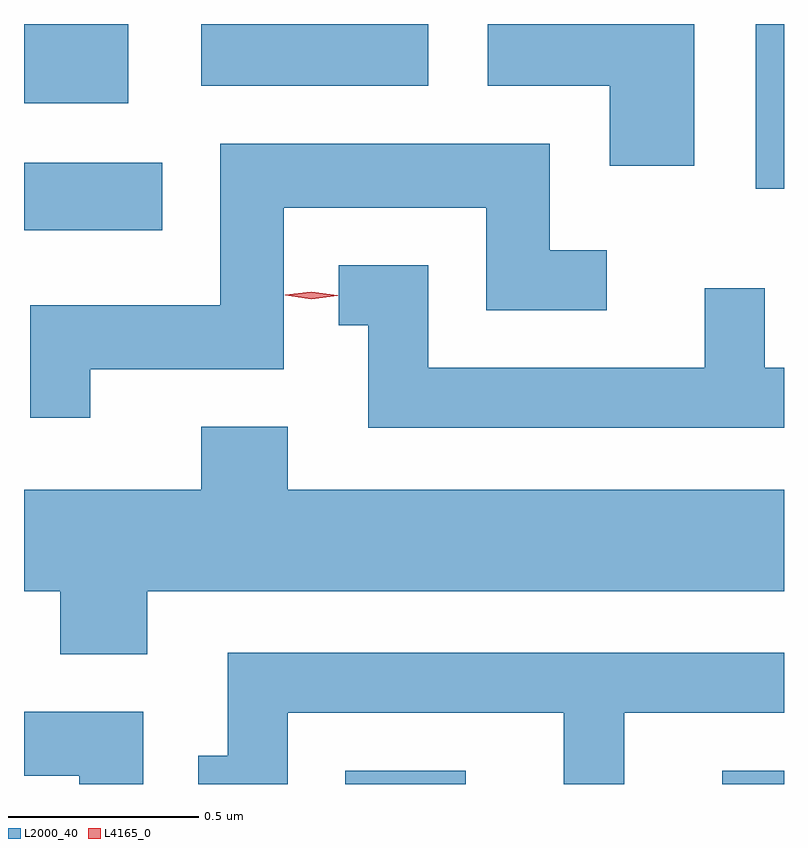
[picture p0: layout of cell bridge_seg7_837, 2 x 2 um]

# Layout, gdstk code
import gdstk
lib = gdstk.Library(unit=1e-6, precision=1e-09)
def R(c, l, rs):  # rectangles x0, y0, x1, y1
    for r in rs: c.add(gdstk.rectangle(r[:2], r[2:], *l))
def P(c, l, *ps):  # polygons
    for p in ps: c.add(gdstk.Polygon(p, *l))
L2000_40 = (2000, 40)
L4165_0 = (4165, 0)

bridge_seg7_837 = lib.new_cell('bridge_seg7_837')
R(bridge_seg7_837, L2000_40, [(350.681,1744.889,350.998,1744.924), (351.673,1744.889,351.835,1744.924), (349.835,1746.346,350.199,1746.524), (351.761,1746.456,351.835,1746.889), (349.835,1746.681,350.109,1746.889), (350.301,1746.726,350.899,1746.889)])
P(bridge_seg7_837, L2000_40, [(351.599,1746.889),(351.056,1746.889),(351.056,1746.726),(351.376,1746.726),(351.376,1746.516),(351.599,1746.516)],
  [(350.009,1745.981),(350.519,1745.981),(350.519,1746.406),(351.051,1746.406),(351.051,1746.136),(351.368,1746.136),(351.368,1746.294),(351.219,1746.294),(351.219,1746.574),(350.351,1746.574),(350.351,1746.149),(349.851,1746.149),(349.851,1745.853),(350.009,1745.853)],
  [(351.835,1745.984),(351.784,1745.984),(351.784,1746.193),(351.626,1746.193),(351.626,1745.984),(350.899,1745.984),(350.899,1746.254),(350.663,1746.254),(350.663,1746.096),(350.741,1746.096),(350.741,1745.826),(351.835,1745.826)],
  [(350.159,1745.396),(351.835,1745.396),(351.835,1745.664),(350.529,1745.664),(350.529,1745.829),(350.301,1745.829),(350.301,1745.664),(349.835,1745.664),(349.835,1745.396),(349.931,1745.396),(349.931,1745.231),(350.159,1745.231)],
  [(350.529,1745.076),(351.256,1745.076),(351.256,1744.889),(351.414,1744.889),(351.414,1745.076),(351.835,1745.076),(351.835,1745.234),(350.371,1745.234),(350.371,1744.964),(350.293,1744.964),(350.293,1744.889),(350.529,1744.889)],
  [(350.149,1745.079),(349.835,1745.079),(349.835,1744.911),(349.981,1744.911),(349.981,1744.889),(350.149,1744.889)])
P(bridge_seg7_837, L4165_0, [(350.591,1746.165),(350.522,1746.175),(350.522,1746.175),(350.522,1746.176),(350.591,1746.185),(350.661,1746.175),(350.661,1746.175),(350.661,1746.174)])

lib.write_gds('bridge_seg7_837.gds')
